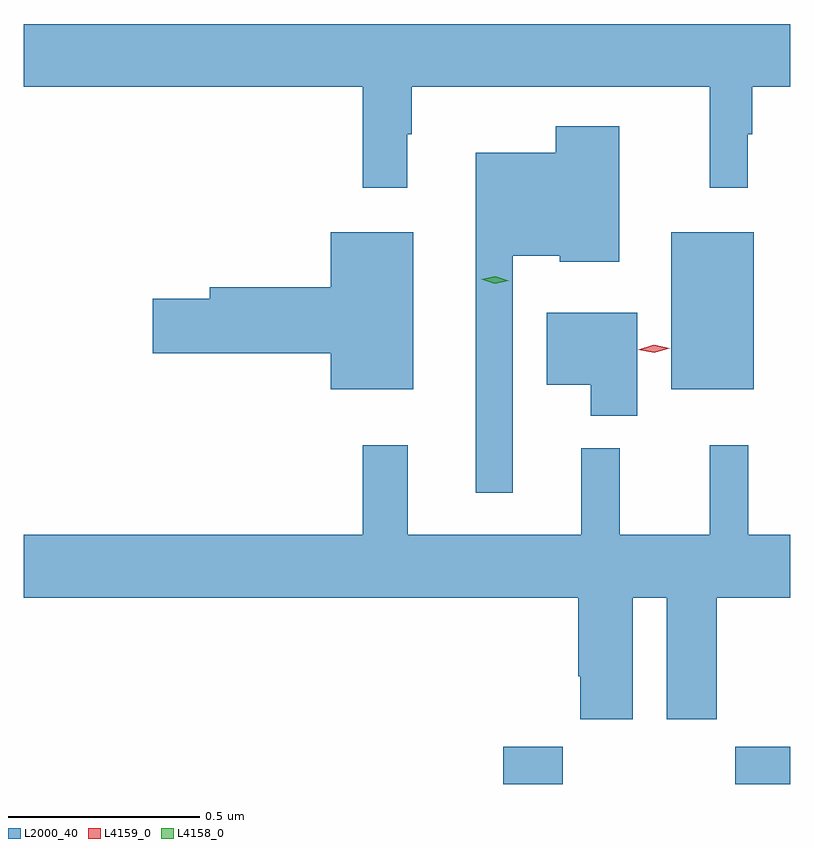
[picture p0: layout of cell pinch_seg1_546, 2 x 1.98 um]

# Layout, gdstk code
import gdstk
lib = gdstk.Library(unit=1e-6, precision=1e-09)
def R(c, l, rs):  # rectangles x0, y0, x1, y1
    for r in rs: c.add(gdstk.rectangle(r[:2], r[2:], *l))
def P(c, l, *ps):  # polygons
    for p in ps: c.add(gdstk.Polygon(p, *l))
L2000_40 = (2000, 40)
L4158_0 = (4158, 0)
L4159_0 = (4159, 0)

pinch_seg1_546 = lib.new_cell('pinch_seg1_546')
R(pinch_seg1_546, L2000_40, [(1072.898,523.274,1073.053,523.371), (1073.503,523.274,1073.647,523.371), (1073.336,524.303,1073.551,524.713)])
P(pinch_seg1_546, L2000_40, [(1072.648,524.969),(1072.66,524.969),(1072.66,525.092),(1073.437,525.092),(1073.437,524.829),(1073.536,524.829),(1073.536,524.969),(1073.548,524.969),(1073.548,525.092),(1073.647,525.092),(1073.647,525.256),(1071.647,525.256),(1071.647,525.092),(1072.531,525.092),(1072.531,524.829),(1072.648,524.829)],
  [(1072.923,524.651),(1073.046,524.651),(1073.046,524.636),(1073.2,524.636),(1073.2,524.989),(1073.035,524.989),(1073.035,524.92),(1072.826,524.92),(1072.826,524.034),(1072.923,524.034)],
  [(1072.663,524.713),(1072.448,524.713),(1072.448,524.57),(1072.133,524.57),(1072.133,524.54),(1071.984,524.54),(1071.984,524.398),(1072.448,524.398),(1072.448,524.303),(1072.663,524.303)],
  [(1073.248,524.503),(1073.012,524.503),(1073.012,524.315),(1073.126,524.315),(1073.126,524.234),(1073.248,524.234)],
  [(1073.236,523.76),(1073.324,523.76),(1073.324,523.443),(1073.455,523.443),(1073.455,523.76),(1073.647,523.76),(1073.647,523.924),(1073.537,523.924),(1073.537,524.158),(1073.437,524.158),(1073.437,523.924),(1073.202,523.924),(1073.202,524.149),(1073.102,524.149),(1073.102,523.924),(1072.649,523.924),(1072.649,524.158),(1072.531,524.158),(1072.531,523.924),(1071.647,523.924),(1071.647,523.76),(1073.093,523.76),(1073.093,523.555),(1073.099,523.555),(1073.099,523.443),(1073.236,523.443)])
P(pinch_seg1_546, L4158_0, [(1072.876,524.578),(1072.841,524.59),(1072.841,524.59),(1072.841,524.59),(1072.877,524.598),(1072.912,524.587),(1072.912,524.587),(1072.912,524.587)])
P(pinch_seg1_546, L4159_0, [(1073.292,524.399),(1073.25,524.407),(1073.25,524.407),(1073.25,524.407),(1073.291,524.419),(1073.332,524.411),(1073.332,524.411),(1073.332,524.41)])

lib.write_gds('pinch_seg1_546.gds')
